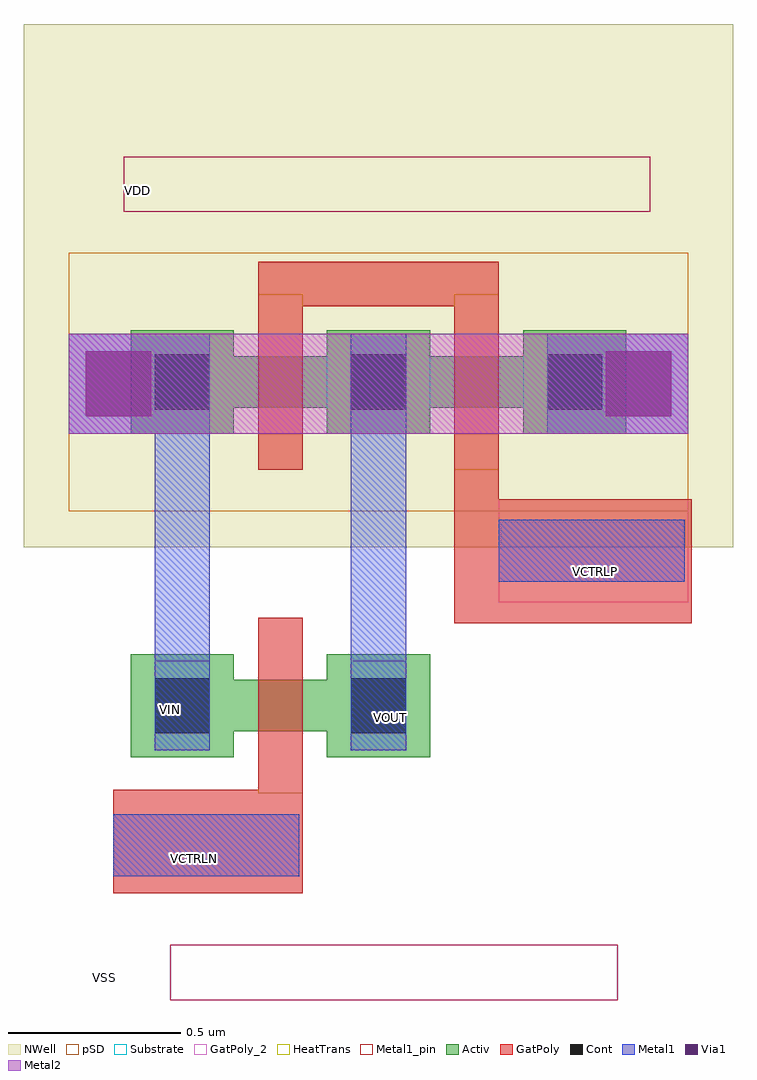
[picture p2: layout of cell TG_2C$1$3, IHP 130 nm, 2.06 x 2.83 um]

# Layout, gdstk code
import gdstk
lib = gdstk.Library(unit=1e-6, precision=5e-09)
def R(c, l, rs):  # rectangles x0, y0, x1, y1
    for r in rs: c.add(gdstk.rectangle(r[:2], r[2:], *l))
Activ = (1, 0)
GatPoly = (5, 0)
GatPoly_2 = (5, 2)
Cont = (6, 0)
Metal1 = (8, 0)
Metal1_pin = (8, 2)
Metal2 = (10, 0)
pSD = (14, 0)
Via1 = (19, 0)
NWell = (31, 0)
Substrate = (40, 0)
HeatTrans = (51, 0)

nmos_4_4_1_1 = lib.new_cell('nmos$4$4$1$1')
R(nmos_4_4_1_1, Activ, [(0,0.04,0.3,0.34), (0.57,0.04,0.87,0.34), (0,0.115,0.87,0.265)])
R(nmos_4_4_1_1, GatPoly, [(0.37,-0.065,0.5,0.445)])
R(nmos_4_4_1_1, GatPoly_2, [(0.37,-0.065,0.5,0.445)])
R(nmos_4_4_1_1, Cont, [(0.07,0.11,0.23,0.27), (0.64,0.11,0.8,0.27)])
R(nmos_4_4_1_1, Metal1, [(0.07,0.06,0.23,0.32), (0.64,0.06,0.8,0.32)])
R(nmos_4_4_1_1, Metal1_pin, [(0.07,0.06,0.23,0.32), (0.64,0.06,0.8,0.32)])
R(nmos_4_4_1_1, HeatTrans, [(0.37,-0.065,0.5,0.445)])
nmos_4_4_1_1.add(gdstk.Label('nmos', (0.435,0.19), layer=63, texttype=0))
nmos_4_4_1_1.add(gdstk.Label('nmos', (0.435,0.19), layer=51, texttype=0))

pmos_4_2_1_1 = lib.new_cell('pmos$4$2$1$1')
R(pmos_4_2_1_1, Activ, [(0,-0.04,0.3,0.26), (0.57,-0.04,0.87,0.26), (0,0.035,0.87,0.185)])
R(pmos_4_2_1_1, GatPoly, [(0.37,-0.145,0.5,0.365), (0.37,-0.145,0.5,0.365)])
R(pmos_4_2_1_1, Cont, [(0.07,0.03,0.23,0.19), (0.64,0.03,0.8,0.19)])
R(pmos_4_2_1_1, Metal1, [(0.07,-0.02,0.23,0.24), (0.07,-0.02,0.23,0.25), (0.64,-0.02,0.8,0.24), (0.64,-0.02,0.8,0.24)])
R(pmos_4_2_1_1, pSD, [(-0.18,-0.265,1.05,0.485)])
R(pmos_4_2_1_1, NWell, [(-0.31,-0.37,1.18,0.56)])
R(pmos_4_2_1_1, Substrate, [(0.57,-0.04,0.87,0.26)])
R(pmos_4_2_1_1, HeatTrans, [(0.37,-0.145,0.5,0.365)])
pmos_4_2_1_1.add(gdstk.Label('pmos', (0.435,0.11), layer=63, texttype=0))
pmos_4_2_1_1.add(gdstk.Label('pmos', (0.435,0.11), layer=51, texttype=0))

via1_constraint_2_6_1_1 = lib.new_cell('Via1_constraint$2$6$1$1')
R(via1_constraint_2_6_1_1, Metal1, [(0,0,0.29,0.29)])
R(via1_constraint_2_6_1_1, Metal2, [(0,0,0.29,0.29)])
R(via1_constraint_2_6_1_1, Via1, [(0.05,0.05,0.24,0.24)])

tg_2c_1_3 = lib.new_cell('TG_2C$1$3')
R(tg_2c_1_3, GatPoly_2, [(0.26,0.415,0.81,0.715), (1.38,1.26,1.93,1.56)])
R(tg_2c_1_3, Metal1, [(0.26,0.465,0.8,0.645), (1.38,1.32,1.92,1.5), (0.42,1.75,0.54,2.04), (1.52,1.75,1.64,2.04)])
R(tg_2c_1_3, Metal1_pin, [(0.425,0.105,1.725,0.265), (0.26,0.465,0.8,0.645), (0.95,0.88,1.11,1.035), (1.38,1.32,1.92,1.5), (0.29,2.395,1.82,2.555)])
R(tg_2c_1_3, NWell, [(0,2.345,2.06,2.94)])
tg_2c_1_3.add(gdstk.FlexPath([(1.03,2.04),(1.03,0.83)], 0.16, ends="flush", simple_path=True, layer=8, datatype=0))  # Metal1
tg_2c_1_3.add(gdstk.FlexPath([(0.46,2.04),(0.46,0.83)], 0.16, ends="flush", simple_path=True, layer=8, datatype=0))  # Metal1
tg_2c_1_3.add(gdstk.FlexPath([(0.31,1.895),(1.75,1.895),(1.75,1.895)], 0.29, ends="flush", simple_path=True, layer=10, datatype=0))  # Metal2
tg_2c_1_3.add(gdstk.FlexPath([(1.25,1.38),(1.94,1.38)], 0.36, ends="flush", simple_path=True, layer=5, datatype=0))  # GatPoly
tg_2c_1_3.add(gdstk.FlexPath([(0.26,0.565),(0.81,0.565),(0.81,0.565)], 0.3, ends="flush", simple_path=True, layer=5, datatype=0))  # GatPoly
tg_2c_1_3.add(gdstk.FlexPath([(1.315,1.645),(1.315,1.34),(1.315,1.26)], 0.13, ends="flush", simple_path=True, layer=5, datatype=0))  # GatPoly
tg_2c_1_3.add(gdstk.FlexPath([(0.745,2.085),(0.745,2.185),(1.315,2.185),(1.315,2.085)], 0.13, ends="flush", simple_path=True, layer=5, datatype=0))  # GatPoly
tg_2c_1_3.add(gdstk.Reference(nmos_4_4_1_1, (0.31,0.77)))
tg_2c_1_3.add(gdstk.Reference(pmos_4_2_1_1, (0.31,1.79)))
tg_2c_1_3.add(gdstk.Reference(pmos_4_2_1_1, (0.88,1.79)))
tg_2c_1_3.add(gdstk.Reference(via1_constraint_2_6_1_1, (1.64,1.75)))
tg_2c_1_3.add(gdstk.Reference(via1_constraint_2_6_1_1, (0.13,1.75)))
tg_2c_1_3.add(gdstk.Label('VIN', (0.425,0.95), layer=8, texttype=25))
tg_2c_1_3.add(gdstk.Label('VOUT', (1.065,0.925), layer=8, texttype=25))
tg_2c_1_3.add(gdstk.Label('VDD', (0.33,2.455), layer=8, texttype=25))
tg_2c_1_3.add(gdstk.Label('VCTRLN', (0.495,0.515), layer=8, texttype=25))
tg_2c_1_3.add(gdstk.Label('VCTRLP', (1.66,1.35), layer=8, texttype=25))
tg_2c_1_3.add(gdstk.Label('VSS', (0.235,0.17), layer=8, texttype=25))

lib.write_gds('TG_2C_1_3.gds')
